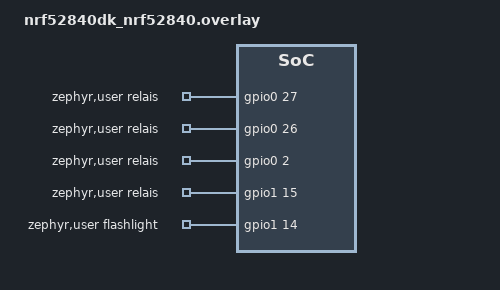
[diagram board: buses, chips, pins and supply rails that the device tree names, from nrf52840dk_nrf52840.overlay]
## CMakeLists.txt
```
# SPDX-License-Identifier: Apache-2.0

cmake_minimum_required(VERSION 3.20.0)
set(QEMU_EXTRA_FLAGS -s)

find_package(Zephyr REQUIRED HINTS $ENV{ZEPHYR_BASE})
project(onoff-app)

target_sources(app PRIVATE 
    src/main.c
    src/shiftregister.c
)
```

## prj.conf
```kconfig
#CONFIG_INIT_STACKS=y      # if set, lots of noise from mesh/adv.c: STACK_ANALYZE
CONFIG_MAIN_STACK_SIZE=2048
CONFIG_SYSTEM_WORKQUEUE_STACK_SIZE=2048

CONFIG_GPIO=y

CONFIG_BT_SETTINGS=y
CONFIG_FLASH=y
CONFIG_FLASH_PAGE_LAYOUT=y
CONFIG_FLASH_MAP=y
CONFIG_NVS=y
CONFIG_SETTINGS=y
CONFIG_BT_MESH_RPL_STORE_TIMEOUT=600

CONFIG_BOOT_BANNER=y

CONFIG_BT_OBSERVER=y
CONFIG_BT_BROADCASTER=y
CONFIG_BT_CTLR_DUP_FILTER_LEN=0
CONFIG_BT_CTLR_LE_ENC=n
CONFIG_BT_CTLR_LE_PING=n
CONFIG_BT_DATA_LEN_UPDATE=n
CONFIG_BT_PHY_UPDATE=n
CONFIG_BT_CTLR_CHAN_SEL_2=n
CONFIG_BT_CTLR_MIN_USED_CHAN=n
#CONFIG_BT_CTLR_ADV_EXT=n
CONFIG_BT_CTLR_PRIVACY=n

CONFIG_BT_PERIPHERAL=y

CONFIG_BT=y
CONFIG_BT_TINYCRYPT_ECC=y
CONFIG_BT_L2CAP_TX_BUF_COUNT=8

CONFIG_BT_MESH=y
CONFIG_BT_MESH_RELAY=y
CONFIG_BT_MESH_RELAY_ENABLED=n
CONFIG_BT_MESH_BEACON_ENABLED=n
CONFIG_BT_MESH_LOW_POWER=n
CONFIG_BT_MESH_FRIEND=y
CONFIG_BT_MESH_ADV_BUF_COUNT=20
CONFIG_BT_MESH_TX_SEG_MAX=6

CONFIG_BT_MESH_PB_GATT=y
CONFIG_BT_MESH_PB_ADV=y
CONFIG_BT_MESH_GATT_PROXY=y
CONFIG_BT_MESH_CFG_CLI=y

# CONFIG_BT_MESH_LPN_SCAN_LATENCY=30
# CONFIG_BT_MESH_LPN_RECV_DELAY=40
# CONFIG_BT_MESH_LPN_POLL_TIMEOUT=300
CONFIG_BT_MESH_SUBNET_COUNT=2
CONFIG_BT_MESH_APP_KEY_COUNT=2
CONFIG_BT_MESH_MODEL_KEY_COUNT=2
CONFIG_BT_MESH_MODEL_GROUP_COUNT=2
CONFIG_BT_MESH_LABEL_COUNT=3

#CONFIG_BT_MESH_IV_UPDATE_TEST=y

CONFIG_USB_DEVICE_STACK=n

# this outputs btmon formatted data to the serial port
#CONFIG_BT_DEBUG_MONITOR_UART=y

#CONFIG_BT_DEBUG_LOG=y

#CONFIG_BT_MESH_LOG_LEVEL_DBG=y
#CONFIG_BT_MESH_LOG_LEVEL_DBG=y
#CONFIG_BT_MESH_PROXY_LOG_LEVEL_DBG=y
#CONFIG_BT_MESH_BEACON_LOG_LEVEL_DBG=y
#CONFIG_BT_MESH_NET_LOG_LEVEL_DBG=y
#CONFIG_BT_MESH_TRANS_LOG_LEVEL_DBG=y
#CONFIG_BT_MESH_LOW_POWER_LOG_LEVEL_DBG=y
#CONFIG_BT_MESH_FRIEND_LOG_LEVEL_DBG=y
#CONFIG_BT_MESH_MODEL_LOG_LEVEL_DBG=y
#CONFIG_BT_MESH_ACCESS_LOG_LEVEL_DBG=y
#CONFIG_BT_MESH_CRYPTO_LOG_LEVEL_DBG=y
#CONFIG_BT_MESH_ADV_LOG_LEVEL_DBG=y
#CONFIG_BT_MESH_SELF_TEST=y

#CONFIG_BT_HCI_VS_EXT=n

#CONFIG_STACK_USAGE=y

CONFIG_BT_RX_STACK_SIZE=4096

#CONFIG_BT_HCI_DRIVER_LOG_LEVEL_DBG=y
#CONFIG_BT_HCI_CORE_LOG_LEVEL_DBG=y
#CONFIG_BT_GATT_LOG_LEVEL_DBG=y
#CONFIG_BT_CONN_LOG_LEVEL_DBG=y

CONFIG_BT_MAX_CONN=2
CONFIG_BT_CTLR_RX_BUFFERS=6
CONFIG_BT_BUF_ACL_TX_COUNT=4
CONFIG_BT_BUF_CMD_TX_COUNT=4


CONFIG_BT_ATT_PREPARE_COUNT=2

#CONFIG_NET_BUF_SIMPLE_LOG=y
#CONFIG_NET_BUF_LOG=y
#CONFIG_BT_CTLR_DEBUG_PINS=y

# CONFIG_THREAD_ANALYZER=y
# CONFIG_THREAD_ANALYZER_USE_PRINTK=y 
# CONFIG_THREAD_ANALYZER_AUTO=y 
# CONFIG_THREAD_ANALYZER_AUTO_INTERVAL=5
CONFIG_BT_MESH_ADV_LEGACY=n
CONFIG_BT_CTLR_ADV_EXT=y
CONFIG_BT_MESH_ADV_EXT=y
CONFIG_PRINTK=n
```

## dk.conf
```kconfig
CONFIG_UART_CONSOLE=y
CONFIG_LOG=y
CONFIG_PRINTK=y
```

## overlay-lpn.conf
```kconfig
#
# Copyright (c) 2022 Nordic Semiconductor ASA
#
# SPDX-License-Identifier: LicenseRef-Nordic-5-Clause
#

CONFIG_BT_MESH_LOW_POWER=y
CONFIG_BT_DEVICE_NAME="Utrecht University Mesh lpn"
CONFIG_BT_MESH_RELAY=n
CONFIG_BT_MESH_FRIEND=n
CONFIG_BT_MESH_ADV_EXT_FRIEND_SEPARATE=n
CONFIG_BT_MESH_ADV_EXT_GATT_SEPARATE=n

# Power saving configuration:

# Serial communication consumes considerable power
#CONFIG_SERIAL=n
#CONFIG_UART_CONSOLE=n

# While enabled, secure beacons will be advertised periodically.
# This consumes power, and is not required for an LPN node.
CONFIG_BT_MESH_BEACON_ENABLED=n

# Each LPN poll event consumes power. Extending the interval between poll events will improve power consumption
CONFIG_BT_MESH_LPN_POLL_TIMEOUT=10 

# While GATT proxy is enabled, it will periodically advertise the network id.
# Disabling it will conserve energy.
CONFIG_BT_MESH_GATT_PROXY_ENABLED=n
```

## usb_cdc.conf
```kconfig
CONFIG_STDOUT_CONSOLE=y
CONFIG_SERIAL=y
CONFIG_CONSOLE=y
CONFIG_USB_DEVICE_STACK=y
CONFIG_USB_DEVICE_PRODUCT="onoff-app"
CONFIG_UART_CONSOLE=y
CONFIG_UART_LINE_CTRL=y
CONFIG_UART_INTERRUPT_DRIVEN=y
CONFIG_USB_DEVICE_VID=0x0403
CONFIG_USB_DEVICE_PID=0x6001
CONFIG_CONSOLE_SUBSYS=y
CONFIG_CONSOLE_GETCHAR=y
CONFIG_LOG=y
CONFIG_PRINTK=y
```

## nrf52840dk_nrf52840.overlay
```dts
/ {
    zephyr,user {
        relais-gpios = <&gpio0 27 (GPIO_ACTIVE_HIGH)>,
                       <&gpio0 26 (GPIO_ACTIVE_HIGH)>,
                       <&gpio0 2 (GPIO_ACTIVE_HIGH)>,
                       <&gpio1 15 (GPIO_ACTIVE_HIGH)>;
        
        flashlight-gpios = <&gpio1 14 (GPIO_ACTIVE_HIGH)>;
    };
    
};

&i2c0 {
    status = "disabled";
};

&spi3{
    status = "disabled";
};
```

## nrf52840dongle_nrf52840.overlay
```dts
// To get started, press Ctrl+Space to bring up the completion menu and view the available nodes.

// You can also use the buttons in the sidebar to perform actions on nodes.
// Actions currently available include:

// * Enabling / disabling the node
// * Adding the bus to a bus
// * Removing the node
// * Connecting ADC channels

// For more help, browse the DeviceTree documentation at https://docs.zephyrproject.org/latest/guides/dts/index.html
// You can also visit the nRF DeviceTree extension documentation at https://nrfconnect.github.io/vscode-nrf-connect/devicetree/nrfdevicetree.html

/ {
    chosen {
		zephyr,shell-uart = &cdc_acm_uart0;
    };

    zephyr,user {
        relais-gpios = <&gpio0 13 (GPIO_ACTIVE_HIGH)>,
                       <&gpio0 15 (GPIO_ACTIVE_HIGH)>,
                       <&gpio0 17 (GPIO_ACTIVE_HIGH)>;  
                    //    <&gpio0 22 (GPIO_ACTIVE_LOW)>,
                    //    <&gpio0 24 (GPIO_ACTIVE_LOW)>;                                              
        flashlight-gpios = <&gpio0 2 (GPIO_ACTIVE_HIGH)>;
    };
    
    buttons {
		compatible = "gpio-keys";
		button0: button_0 {
			gpios = <&gpio1 15 (GPIO_PULL_UP | GPIO_ACTIVE_LOW)>;
			label = "Push button switch 0";
		};
	};
};

&zephyr_udc0 {
	cdc_acm_uart0: cdc_acm_uart0 {
		compatible = "zephyr,cdc-acm-uart";
	};
};

&uart0 {
    status = "disabled";
};
```

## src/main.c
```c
/*
 * The unprovisioned beacon uses the device address set by Nordic
 * in the FICR as its UUID and is presumed unique.
 *
 * Button and LED 1 are in the root node.
 * The 3 remaining button/LED pairs are in element 1 through 3.
 * Assuming the provisioner assigns 0x100 to the root node,
 * the secondary elements will appear at 0x101, 0x102 and 0x103.
 *
 * It's anticipated that after provisioning, the button clients would
 * be configured to publish and the LED servers to subscribe.
 *
 * If a LED server is provided with a publish address, it will
 * also publish its status on a state change.
 *
 * Messages from a button to its corresponding LED are ignored as
 * the LED's state has already been changed locally by the button client.
 *
 *
 */

#include <zephyr/sys/printk.h>
#include <zephyr/settings/settings.h>
#include <zephyr/sys/byteorder.h>
#include <zephyr/device.h>
#include <zephyr/drivers/gpio.h>
#include <zephyr/bluetooth/bluetooth.h>
#include <zephyr/bluetooth/conn.h>
#include <zephyr/bluetooth/l2cap.h>
#include <zephyr/bluetooth/hci.h>
#include <zephyr/bluetooth/mesh.h>
#include <stdio.h>
#include <zephyr/logging/log.h>
#include "shiftregister.h"

// #ifdef CONFIG_USB_DEVICE_STACK
// #include <zephyr/drivers/uart.h>
// #include <zephyr/usb/usb_device.h>
// #endif

LOG_MODULE_REGISTER(onoffapp, LOG_LEVEL_DBG);

#define ZEPHYR_USER_NODE DT_PATH(zephyr_user)
struct gpio_dt_spec flashlight = GPIO_DT_SPEC_GET_OR (ZEPHYR_USER_NODE, flashlight_gpios, {0});

/* Model Operation Codes */
#define BT_MESH_MODEL_OP_GEN_ONOFF_GET		BT_MESH_MODEL_OP_2(0x82, 0x01)
#define BT_MESH_MODEL_OP_GEN_ONOFF_SET		BT_MESH_MODEL_OP_2(0x82, 0x02)
#define BT_MESH_MODEL_OP_GEN_ONOFF_SET_UNACK	BT_MESH_MODEL_OP_2(0x82, 0x03)
#define BT_MESH_MODEL_OP_GEN_ONOFF_STATUS	BT_MESH_MODEL_OP_2(0x82, 0x04)

static int gen_onoff_set(struct bt_mesh_model *model,
			 struct bt_mesh_msg_ctx *ctx,
			 struct net_buf_simple *buf);

static int gen_onoff_set_unack(struct bt_mesh_model *model,
			       struct bt_mesh_msg_ctx *ctx,
			       struct net_buf_simple *buf);

static int gen_onoff_get(struct bt_mesh_model *model,
			 struct bt_mesh_msg_ctx *ctx,
			 struct net_buf_simple *buf);

static int gen_onoff_status(struct bt_mesh_model *model,
			    struct bt_mesh_msg_ctx *ctx,
			    struct net_buf_simple *buf);

/*
 * Client Configuration Declaration
 */
static bool attention;
static struct bt_mesh_cfg_cli cfg_cli = {
};


/*
 * Publication Declarations
 *
 * The publication messages are initialized to the
 * the size of the opcode + content
 *
 * For publication, the message must be in static or global as
 * it is re-transmitted several times. This occurs
 * after the function that called bt_mesh_model_publish() has
 * exited and the stack is no longer valid.
 *
 * Note that the additional 4 bytes for the AppMIC is not needed
 * because it is added to a stack variable at the time a
 * transmission occurs.
 *
 */

BT_MESH_HEALTH_PUB_DEFINE(health_pub, 0);

BT_MESH_MODEL_PUB_DEFINE(gen_onoff_pub_srv, NULL, 2 + 2);
BT_MESH_MODEL_PUB_DEFINE(gen_onoff_pub_cli, NULL, 2 + 2);
BT_MESH_MODEL_PUB_DEFINE(gen_onoff_pub_srv_s_0, NULL, 2 + 2);
//BT_MESH_MODEL_PUB_DEFINE(gen_onoff_pub_cli_s_0, NULL, 2 + 2);
//BT_MESH_MODEL_PUB_DEFINE(gen_onoff_pub_srv_s_1, NULL, 2 + 2);
//BT_MESH_MODEL_PUB_DEFINE(gen_onoff_pub_cli_s_1, NULL, 2 + 2);
//BT_MESH_MODEL_PUB_DEFINE(gen_onoff_pub_srv_s_2, NULL, 2 + 2);
//BT_MESH_MODEL_PUB_DEFINE(gen_onoff_pub_cli_s_2, NULL, 2 + 2);

/*
 * Models in an element must have unique op codes.
 *
 * The mesh stack dispatches a message to the first model in an element
 * that is also bound to an app key and supports the op code in the
 * received message.
 *
 */

/*
 * OnOff Model Server Op Dispatch Table
 *
 */

static const struct bt_mesh_model_op gen_onoff_srv_op[] = {
	{ BT_MESH_MODEL_OP_GEN_ONOFF_GET,       BT_MESH_LEN_EXACT(0), gen_onoff_get },
	{ BT_MESH_MODEL_OP_GEN_ONOFF_SET,       BT_MESH_LEN_EXACT(2), gen_onoff_set },
	{ BT_MESH_MODEL_OP_GEN_ONOFF_SET_UNACK, BT_MESH_LEN_EXACT(2), gen_onoff_set_unack },
	BT_MESH_MODEL_OP_END,
};

/*
 * OnOff Model Client Op Dispatch Table
 */

static const struct bt_mesh_model_op gen_onoff_cli_op[] = {
	{ BT_MESH_MODEL_OP_GEN_ONOFF_STATUS, BT_MESH_LEN_EXACT(1), gen_onoff_status },
	BT_MESH_MODEL_OP_END,
};

struct onoff_state {
	const struct gpio_dt_spec led_device;
	uint8_t server_num;
	int8_t current;
	//uint8_t previous;
	uint8_t istriggered;
};

/*
 * Declare and Initialize Element Contexts
 * Change to select different GPIO output pins
 */

static struct onoff_state onoff_state[] = {
	{ .led_device = GPIO_DT_SPEC_GET(DT_ALIAS(led0), gpios), .server_num = 0,},
	{ .led_device = GPIO_DT_SPEC_GET(DT_ALIAS(led1), gpios), .server_num= 1,},
	{ .led_device = GPIO_DT_SPEC_GET(DT_ALIAS(led2), gpios), .server_num= 2,},
	{ .led_device = GPIO_DT_SPEC_GET(DT_ALIAS(led3), gpios), .server_num= 3,},
};

/*
 * Health Server Declaration
 */
//static struct k_work_delayable attention_blink_work;

static void attention_blink(struct k_work *work);

K_WORK_DELAYABLE_DEFINE(attention_blink_work, attention_blink);
static void attention_blink(struct k_work *work)
{	
	static int idx =0;
	struct onoff_state health_led = onoff_state[1];
	if (attention) {				
		gpio_pin_set_dt(&health_led.led_device, (idx++)%2);
		k_work_reschedule(&attention_blink_work, K_MSEC(30));
	} else {
		gpio_pin_set_dt(&health_led.led_device, 0);
	}
	
	k_work_reschedule(&attention_blink_work, K_MSEC(30));
}



static void attention_on(struct bt_mesh_model *mod)
{
	attention = true;
	k_work_reschedule(&attention_blink_work, K_NO_WAIT);
}

static void attention_off(struct bt_mesh_model *mod)
{
	/* Will stop rescheduling blink timer */
	attention = false;
}

static const struct bt_mesh_health_srv_cb health_srv_cb = {
	.attn_on = attention_on,
	.attn_off = attention_off,
};

static struct bt_mesh_health_srv health_srv = {
	.cb = &health_srv_cb,
};


/*
 *
 * Element Model Declarations
 *
 * Element 0 Root Models
 */

static struct bt_mesh_model root_models[] = {
	BT_MESH_MODEL_CFG_SRV,
	BT_MESH_MODEL_CFG_CLI(&cfg_cli),
	BT_MESH_MODEL_HEALTH_SRV(&health_srv, &health_pub),
	BT_MESH_MODEL(BT_MESH_MODEL_ID_GEN_ONOFF_SRV, gen_onoff_srv_op,
		      &gen_onoff_pub_srv, &onoff_state[0]),
	BT_MESH_MODEL(BT_MESH_MODEL_ID_GEN_ONOFF_CLI, gen_onoff_cli_op,
		      &gen_onoff_pub_cli, &onoff_state[0]),
};

/*
 * Element 1 Models
 */

static struct bt_mesh_model secondary_0_models[] = {
	BT_MESH_MODEL(BT_MESH_MODEL_ID_GEN_ONOFF_SRV, gen_onoff_srv_op,
		      &gen_onoff_pub_srv_s_0, &onoff_state[1]),
	// BT_MESH_MODEL(BT_MESH_MODEL_ID_GEN_ONOFF_CLI, gen_onoff_cli_op,
	// 	      &gen_onoff_pub_cli_s_0, &onoff_state[1]),
};

/*
 * Element 2 Models
 */

// static struct bt_mesh_model secondary_1_models[] = {
// 	BT_MESH_MODEL(BT_MESH_MODEL_ID_GEN_ONOFF_SRV, gen_onoff_srv_op,
// 		      &gen_onoff_pub_srv_s_1, &onoff_state[2]),
// 	BT_MESH_MODEL(BT_MESH_MODEL_ID_GEN_ONOFF_CLI, gen_onoff_cli_op,
// 		      &gen_onoff_pub_cli_s_1, &onoff_state[2]),
// };

/*
 * Element 3 Models
 */

// static struct bt_mesh_model secondary_2_models[] = {
// 	BT_MESH_MODEL(BT_MESH_MODEL_ID_GEN_ONOFF_SRV, gen_onoff_srv_op,
// 		      &gen_onoff_pub_srv_s_2, &onoff_state[3]),
// 	BT_MESH_MODEL(BT_MESH_MODEL_ID_GEN_ONOFF_CLI, gen_onoff_cli_op,
// 		      &gen_onoff_pub_cli_s_2, &onoff_state[3]),
// };

/*
 * Button to Client Model Assignments
 */

struct bt_mesh_model *mod_cli_sw[] = {
		&root_models[4],
		// &secondary_0_models[1],
		// &secondary_1_models[1],
		// &secondary_2_models[1],
};

/*
 * LED to Server Model Assignments
 */

struct bt_mesh_model *mod_srv_sw[] = {
		&root_models[3],
		&secondary_0_models[0],
		// &secondary_1_models[0],
		// &secondary_2_models[0],
};

/*
 * Root and Secondary Element Declarations
 */

static struct bt_mesh_elem elements[] = {
	BT_MESH_ELEM(0, root_models, BT_MESH_MODEL_NONE),
	BT_MESH_ELEM(0, secondary_0_models, BT_MESH_MODEL_NONE),
};

static const struct bt_mesh_comp comp = {
	.cid = BT_COMP_ID_LF,
	.elem = elements,
	.elem_count = ARRAY_SIZE(elements),
};


//static uint8_t trans_id;
static uint16_t primary_addr;
static uint16_t primary_net_idx;

/*
 * Generic OnOff Model Server Message Handlers
 *
 * Mesh Model Specification 3.1.1
 *
 */

static int gen_onoff_get(struct bt_mesh_model *model,
			 struct bt_mesh_msg_ctx *ctx,
			 struct net_buf_simple *buf)
{
	//thing this does nothing 
	//return 0;
	NET_BUF_SIMPLE_DEFINE(msg, 2 + 1 + 4);
	struct onoff_state *onoff_state = model->user_data;

	printk("addr 0x%04x onoff 0x%02x\n",
	       bt_mesh_model_elem(model)->addr, onoff_state->current);
	bt_mesh_model_msg_init(&msg, BT_MESH_MODEL_OP_GEN_ONOFF_STATUS);
	net_buf_simple_add_u8(&msg, onoff_state->current);

	if (bt_mesh_model_send(model, ctx, &msg, NULL, NULL)) {
		printk("Unable to send On Off Status response\n");
	}

	return 0;
}


static uint8_t currentstate = 2;
static void state_update_delaywork(struct k_work *work) {
	if(onoff_state[0].current == 1 && onoff_state[1].current == 1)
	onoff_state[0].istriggered = 0;
	onoff_state[1].istriggered = 0;		
	currentstate = 3;
	printk("new delayed state %i\n", currentstate);
}

K_WORK_DELAYABLE_DEFINE(stateupdate, state_update_delaywork);


static void gamestate() {
	
	printk("current state %i\n", currentstate);
	
	if(currentstate == 0) { //running state
		
		if(onoff_state[0].istriggered && onoff_state[1].istriggered) {						
			stop_clock();
			gpio_pin_set_dt(&flashlight, 1);  //turn on flashlight
			currentstate = 1; //two buttons have been pressed
		}			
	
	} else if(currentstate == 1) {
		if(onoff_state[0].current == 0 && onoff_state[1].current == 0) {							
			currentstate = 2; //both buttons are released
		}
	
	} else if(currentstate == 2) {		
		if(onoff_state[0].current == 1 && onoff_state[1].current == 1) {						
			k_work_reschedule(&stateupdate, K_SECONDS(1));
		}	//both buttons are pressed again to start the game
	
	} else if(currentstate == 3) { //trigger set to zero, when ether button is released the clock starts
		if(onoff_state[0].current == 0 || onoff_state[1].current == 0) {						
			start_clock();
			gpio_pin_set_dt(&flashlight, 0);  //turn off flashlight
			currentstate = 0;
		}
	}
	printk("new state %i\n", currentstate);
}

static int gen_onoff_set_unack(struct bt_mesh_model *model,
			       struct bt_mesh_msg_ctx *ctx,
			       struct net_buf_simple *buf)
{
	//struct net_buf_simple *msg = model->pub->msg;
	struct onoff_state *onoff_state = model->user_data;
	

	onoff_state->current = net_buf_simple_pull_u8(buf);
	printk("server %i, addr 0x%02x state 0x%02x\n", onoff_state->server_num, bt_mesh_model_elem(model)->addr, onoff_state->current);

	gpio_pin_set_dt(&onoff_state->led_device, onoff_state->current);
	
	if(onoff_state->current){
		onoff_state->istriggered = 1;
	}
	
	gamestate();
	/*
	 * If a server has a publish address, it is required to
	 * publish status on a state change
	 *
	 * See Mesh Profile Specification 3.7.6.1.2
	 *
	 * Only publish if there is an assigned address
	 */

	// if (onoff_state->previous != onoff_state->current &&
	//     model->pub->addr != BT_MESH_ADDR_UNASSIGNED) {
	// 	printk("publish last 0x%02x cur 0x%02x\n",
	// 	       onoff_state->previous, onoff_state->current);
	// 	onoff_state->previous = onoff_state->current;
	// 	bt_mesh_model_msg_init(msg,
	// 			       BT_MESH_MODEL_OP_GEN_ONOFF_STATUS);
	// 	net_buf_simple_add_u8(msg, onoff_state->current);
	// 	err = bt_mesh_model_publish(model);
	// 	if (err) {
	// 		printk("bt_mesh_model_publish err %d\n", err);
	// 	}
	// }

	return 0;
}

static int gen_onoff_set(struct bt_mesh_model *model,
			 struct bt_mesh_msg_ctx *ctx,
			 struct net_buf_simple *buf)
{
	printk("gen_onoff_set\n");

	(void)gen_onoff_set_unack(model, ctx, buf);
	(void)gen_onoff_get(model, ctx, buf);

	return 0;
}

static int gen_onoff_status(struct bt_mesh_model *model,
			    struct bt_mesh_msg_ctx *ctx,
			    struct net_buf_simple *buf)
{
	uint8_t	state;

	state = net_buf_simple_pull_u8(buf);

	printk("Node 0x%04x OnOff status from 0x%04x with state 0x%02x\n",
	       bt_mesh_model_elem(model)->addr, ctx->addr, state);

	return 0;
}

static int output_number(bt_mesh_output_action_t action, uint32_t number)
{
	printk("OOB Number %06u\n", number);
	return 0;
}

static int output_string(const char *str)
{
	printk("OOB String %s\n", str);
	return 0;
}

static void prov_complete(uint16_t net_idx, uint16_t addr)
{
	printk("provisioning complete for net_idx 0x%04x addr 0x%04x\n",
	       net_idx, addr);
	primary_addr = addr;
	primary_net_idx = net_idx;
}

static void prov_reset(void)
{
	bt_mesh_prov_enable(BT_MESH_PROV_ADV | BT_MESH_PROV_GATT);
}

static uint8_t dev_uuid[16] = { 0xdd, 0xdd };

struct buttonwork {
    struct k_work work;
    uint8_t button_num;
	uint8_t button_pressed;
};

static uint8_t trans_id = 0;

static void button_pressed_worker(struct k_work *workitem)
{
	printk("button_pressed_worker\n");
	struct buttonwork *button = CONTAINER_OF(workitem, struct buttonwork, work);

	//only to test gamestate;
	if(button->button_num == 1) {
		
		onoff_state[0].current = button->button_pressed;
		if(button->button_pressed) {
			onoff_state[0].istriggered =1;
		};
			
		gamestate();
		return;
	} if (button->button_num ==2) {
		onoff_state[1].current = button->button_pressed;
		if(button->button_pressed) {
			onoff_state[1].istriggered =1;
		};
		gamestate();
		return;
	}

	struct bt_mesh_model *mod_cli; // *mod_srv;
	struct bt_mesh_model_pub *pub_cli; // *pub_srv;
	
	int err;
	

	mod_cli = mod_cli_sw[0];
	pub_cli = mod_cli->pub;

	// mod_srv = mod_srv_sw[0];
	// pub_srv = mod_srv->pub;

	/* If unprovisioned, just call the set function.
	 * The intent is to have switch-like behavior
	 * prior to provisioning. Once provisioned,
	 * the button and its corresponding led are no longer
	 * associated and act independently. So, if a button is to
	 * control its associated led after provisioning, the button
	 * must be configured to either publish to the led's unicast
	 * address or a group to which the led is subscribed.
	 */

	// if (primary_addr == BT_MESH_ADDR_UNASSIGNED) {
	// 	NET_BUF_SIMPLE_DEFINE(msg, 1);
	// 	struct bt_mesh_msg_ctx ctx = {
	// 		.addr = 0 + primary_addr,
	// 	};

		/* This is a dummy message sufficient
		 * for the led server
		 */

		// net_buf_simple_add_u8(&msg, sw->onoff_state);
		// (void)gen_onoff_set_unack(mod_srv, &ctx, &msg);
		// return;
	//}
	printk("publish to 0x%04x onoff 0x%02x\n", pub_cli->addr, button->button_pressed);

	if (pub_cli->addr == BT_MESH_ADDR_UNASSIGNED) {
		return;
	}	
	
	bt_mesh_model_msg_init(pub_cli->msg, BT_MESH_MODEL_OP_GEN_ONOFF_SET);
	net_buf_simple_add_u8(pub_cli->msg, button->button_pressed); 
	net_buf_simple_add_u8(pub_cli->msg, trans_id++); //whithout this does not work
	err = bt_mesh_model_publish(mod_cli);
	if (err) {
		printk("bt_mesh_model_publish err %d\n", err);
	}
}

K_WORK_DEFINE(button0_work, button_pressed_worker);






/* Disable OOB security for SILabs Android app */

static const struct bt_mesh_prov prov = {
	.uuid = dev_uuid,
#if 1
	.output_size = 6,
	.output_actions = (BT_MESH_DISPLAY_NUMBER | BT_MESH_DISPLAY_STRING),
	.output_number = output_number,
	.output_string = output_string,
#else
	.output_size = 0,
	.output_actions = 0,
	.output_number = 0,
#endif
	.complete = prov_complete,
	.reset = prov_reset,
};

/*
 * Bluetooth Ready Callback
 */

static void bt_ready(int err)
{
	struct bt_le_oob oob;

	if (err) {
		printk("Bluetooth init failed (err %d)\n", err);
		return;
	}

	printk("Bluetooth initialized\n");

	err = bt_mesh_init(&prov, &comp);
	if (err) {
		printk("Initializing mesh failed (err %d)\n", err);
		return;
	}

	if (IS_ENABLED(CONFIG_SETTINGS)) {
		settings_load();
	}

	/* Use identity address as device UUID */
	if (bt_le_oob_get_local(BT_ID_DEFAULT, &oob)) {
		printk("Identity Address unavailable\n");
	} else {
		memcpy(dev_uuid, oob.addr.a.val, 6);
	}

	bt_mesh_prov_enable(BT_MESH_PROV_GATT | BT_MESH_PROV_ADV);

	printk("Mesh initialized\n");
}



static void sw_pressed(const struct device *dev, struct gpio_callback *cb,
	uint32_t pin_pos) {
		
	// static uint32_t time, last_time;
	// time = k_uptime_get_32();

	// /* debounce the switch */
	// if (time < last_time + 250) { //250ms		
	// 	return;
	// }
	// last_time = time;

    struct gpio_dt_spec switches[] = {
		GPIO_DT_SPEC_GET(DT_ALIAS(sw0), gpios),
#if DT_NODE_HAS_STATUS(DT_ALIAS(sw1), okay)	
		GPIO_DT_SPEC_GET(DT_ALIAS(sw1), gpios),
		GPIO_DT_SPEC_GET(DT_ALIAS(sw2), gpios),
#endif
	};
	gpio_pin_t gpio_switches[] = {
		DT_GPIO_PIN(DT_ALIAS(sw0), gpios),
#if DT_NODE_HAS_STATUS(DT_ALIAS(sw1), okay)	
		DT_GPIO_PIN(DT_ALIAS(sw1), gpios),
		DT_GPIO_PIN(DT_ALIAS(sw2), gpios),
#endif
	};
	for (size_t i = 0; i < ARRAY_SIZE(switches); i++)
	{		
		if (pin_pos == BIT(gpio_switches[i])){
			int state = gpio_pin_get(dev, gpio_switches[i]);
			printk("button %d changed, value is %d \n", i, state);
			//delegate to seperate worker to avoid blocking
			struct buttonwork button = {
        		.button_pressed = state,
				.button_num = i,
				.work = button0_work,
    		};
	
			k_work_submit(&button.work);
		}		
	}	
}

static struct gpio_callback button_cb;
//const static struct gpio_dt_spec sw_device0 = GPIO_DT_SPEC_GET_OR(DT_ALIAS(sw1), gpios, {0});

static void callbackbuttons() {	
	struct gpio_dt_spec sw_device0 = GPIO_DT_SPEC_GET(DT_ALIAS(sw0), gpios);

#if DT_NODE_HAS_STATUS(DT_ALIAS(sw1), okay)	

	struct gpio_dt_spec sw_device1 = GPIO_DT_SPEC_GET(DT_ALIAS(sw1), gpios);
	struct gpio_dt_spec sw_device2 = GPIO_DT_SPEC_GET(DT_ALIAS(sw2), gpios);

	__ASSERT(device_is_ready(sw_device1.port), "Device not ready");
	__ASSERT(device_is_ready(sw_device2.port), "Device not ready");

	gpio_pin_configure_dt(&sw_device1, GPIO_INPUT);
	gpio_pin_configure_dt(&sw_device2, GPIO_INPUT);

	gpio_pin_interrupt_configure_dt(&sw_device1, GPIO_INT_EDGE_BOTH);
	gpio_pin_interrupt_configure_dt(&sw_device2, GPIO_INT_EDGE_BOTH);

	gpio_add_callback(sw_device1.port, &button_cb);
	gpio_add_callback(sw_device2.port, &button_cb);
	
	gpio_init_callback(&button_cb, sw_pressed, BIT(sw_device0.pin) | BIT(sw_device1.pin) | BIT(sw_device2.pin));
#else
	gpio_init_callback(&button_cb, sw_pressed, BIT(sw_device0.pin));
#endif
		
	__ASSERT(device_is_ready(sw_device0.port), "Device not ready");

	gpio_pin_configure_dt(&sw_device0, GPIO_INPUT);
	
	gpio_pin_interrupt_configure_dt(&sw_device0, GPIO_INT_EDGE_BOTH);
	
	gpio_add_callback(sw_device0.port, &button_cb);

}

// #ifdef CONFIG_USB_DEVICE_STACK
// void enable_usbcdc()
// {	
// 	const struct device *dev = DEVICE_DT_GET(DT_CHOSEN(zephyr_console));
// 	__ASSERT(device_is_ready(dev), "console not ready");
// 	uint32_t dtr = 0;

// 	if (usb_enable(NULL)) {
// 		return;
// 	}

// 	/* Poll if the DTR flag was set */
// 	while (!dtr) {
// 		uart_line_ctrl_get(dev, UART_LINE_CTRL_DTR, &dtr);
// 		/* Give CPU resources to low priority threads. */
// 		k_sleep(K_MSEC(100));
// 	}	
// }
// #endif

int main(void)
{
	int err;
// #ifdef CONFIG_USB_DEVICE_STACK
// 	enable_usbcdc();
// 	console_init();
// 	k_sleep(K_MSEC(2000));
// 	printk("delete flash? y/n\n");
// 	uint8_t c = console_getchar();
// 	if (c == 'y') {
// 		printk("deleting flash\n");
// 	 	bt_mesh_reset();

// 	} else {
// 	 	printk("not deleting flash: %c\n", c);
// 	}
// #endif
	err = gpio_pin_configure_dt(&flashlight, GPIO_OUTPUT_INACTIVE);

	printk("Initializing...\n");
			
	callbackbuttons();
	err = init_clock();
	if(err) {
		printk("Error initializing shift register\n");
		return 0;
	}

	//k_work_init_delayable(&attention_blink_work, attention_blink);
	
	
	// Initialize LED's 
	
	for(int x=0; x< ARRAY_SIZE(onoff_state); x++) {
		__ASSERT(device_is_ready(onoff_state[x].led_device.port), "LED GPIO controller device is not ready\n");			
		gpio_pin_configure_dt(&onoff_state[x].led_device, GPIO_OUTPUT_INACTIVE);
	}	
	
	/* Initialize the Bluetooth Subsystem */	
	err = bt_enable(bt_ready);
	if (err) {
		printk("Bluetooth init failed (err %d)\n", err);
	}
			
	return 0;
}
```

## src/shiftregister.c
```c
#include <zephyr/kernel.h>
#include <zephyr/types.h>
#include <zephyr/drivers/gpio.h>
#include <zephyr/logging/log.h>

#define ZEPHYR_USER_NODE DT_PATH(zephyr_user)

LOG_MODULE_REGISTER(shiftregister, LOG_LEVEL_DBG);

struct gpio_dt_spec specs[] = {
	DT_FOREACH_PROP_ELEM_SEP(ZEPHYR_USER_NODE, relais_gpios,
							 GPIO_DT_SPEC_GET_BY_IDX, (, ))};

static uint8_t numbers_to_display[10] = {219,144,93,213,150,199,207,145,223,215};

static uint8_t numbermask(uint8_t number, bool dot) {
  return numbers_to_display[number] + (dot ? 32 :0);
}

static void flush_shift_register()
{
  gpio_pin_set_dt(&specs[1], 0);  
  k_sleep(K_USEC(1));
  gpio_pin_set_dt(&specs[1], 1);
  k_sleep(K_USEC(1));
}

static void write_bit(bool b)
{
  gpio_pin_set_dt(&specs[0], !b);
  k_sleep(K_USEC(1));
  gpio_pin_set_dt(&specs[2], 0);  
  k_sleep(K_USEC(1));
  gpio_pin_set_dt(&specs[0], b);
  k_sleep(K_USEC(1));
  gpio_pin_set_dt(&specs[2], 1);  
  k_sleep(K_USEC(1));
}

static void write_bitmask(uint8_t btm)
{
  int b = 1;
  for(int x=0; x<8; x++) {
      (b & btm) ? write_bit(1) : write_bit(0);
      b <<=1;
  }
}

static uint16_t number = 0;
static void drawnumber_work_handler(struct k_work *work) {
  
  uint8_t d_seconds, d_seconds_l, d_seconds_h, d_minutes = 0;
  
  d_minutes = number/60;
  d_seconds = number- (d_minutes*60);
  d_seconds_l = (d_seconds % 10);
  d_seconds_h = (d_seconds % 100-d_seconds_l)/10;
  number++;
    
  write_bitmask(numbermask(d_seconds_l, 0));
  write_bitmask(numbermask(d_seconds_h, 0));
  write_bitmask(numbermask(d_minutes, 1));

  flush_shift_register();
  printk("drawnumber: %d\n", number);
}

K_WORK_DEFINE(clockworker, drawnumber_work_handler);

void drawnumber(struct k_timer *timer_id) {
  k_work_submit(&clockworker);  
}

K_TIMER_DEFINE(clocktimer, drawnumber, NULL);

//serial = specs_0; green
//sck = specs_1     white
//srck = specs_2    yellow

//high out = specs_3

void stop_clock() {
  k_timer_stop(&clocktimer);
  printk("light off");
  printk("clock stopped\n");
}

void start_clock() {
  number = 0;
  printk("light on");
  k_timer_start(&clocktimer, K_SECONDS(1), K_SECONDS(1));
}

// set all pins as output
int init_clock()
{	
  int err = 0;
  
	for (size_t x = 0; x < ARRAY_SIZE(specs); x++)
	{
		err = gpio_pin_configure_dt(&specs[x], GPIO_OUTPUT_INACTIVE);

		if (err)
		{
			LOG_ERR("Cannot configure LED gpio");
			return err;
		}
	}

  //k_timer_start(&clocktimer, K_SECONDS(1), K_SECONDS(1));	
	return 0;
}
```

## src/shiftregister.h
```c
#include <zephyr/kernel.h>
#include <zephyr/types.h>

int init_clock();
void start_clock();
void stop_clock();
```
